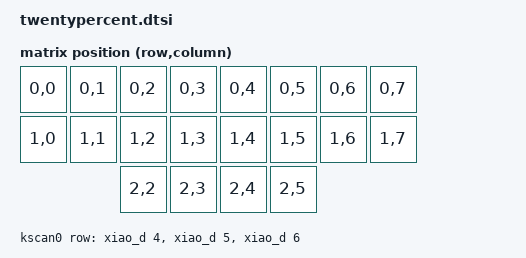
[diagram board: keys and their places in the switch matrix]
#include <dt-bindings/zmk/matrix_transform.h>
#include <dt-bindings/zmk/input_transform.h>
#include <input/processors.dtsi>
#include <physical_layouts.dtsi>

/ {
  chosen {
    zmk,kscan = &kscan0;

    /* ZMK Studio uses physical_layouts */
    zmk,physical-layout = &twentypercent_layout;
  };

  /* Matrix Transeform */
  default_transform: keymap_transform_0 {
    compatible = "zmk,matrix_transform";
    columns = <8>;
    rows = <3>;

    map = <
      RC(0,0) RC(0,1) RC(0,2) RC(0,3)    RC(0,4) RC(0,5) RC(0,6) RC(0,7)
      RC(1,0) RC(1,1) RC(1,2) RC(1,3)    RC(1,4) RC(1,5) RC(1,6) RC(1,7)
                      RC(2,2) RC(2,3)    RC(2,4) RC(2,5)
    >;
  };
  /* KSCAN */
  kscan0: kscan {
    compatible = "zmk,kscan-gpio-matrix";
    label = "KSCAN"
    diode-direction = "row2col";
    row-gpios 
      = <&xiao_d 4 GPIO_ACTIVE_HIGH>
      , <&xiao_d 5 GPIO_ACTIVE_HIGH>
      , <&xiao_d 6 GPIO_ACTIVE_HIGH>
    ;
  };

  /* ZMK Studio physical layout */

  twentypercent_layout: twentypercent_layout {
    compatible = "zmk,physical-layout";
    display-name = "TwentyPercent";
  }
}
